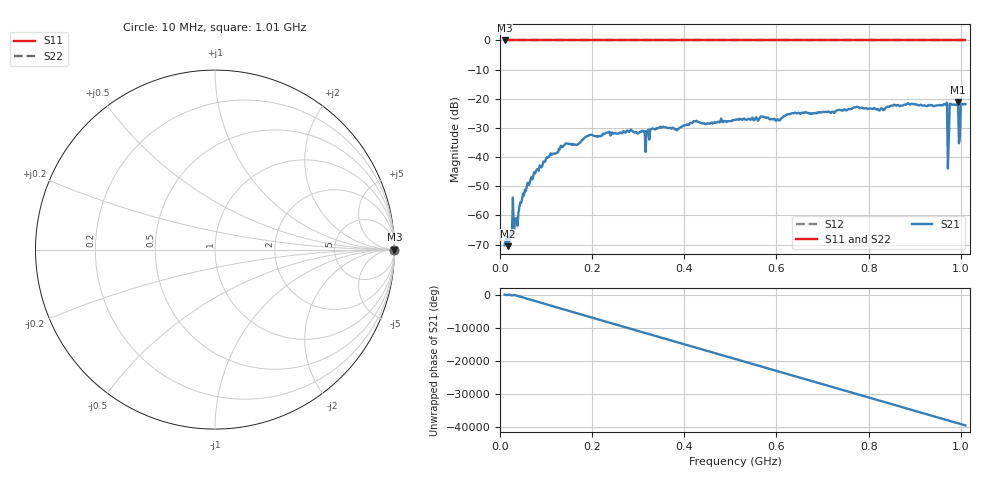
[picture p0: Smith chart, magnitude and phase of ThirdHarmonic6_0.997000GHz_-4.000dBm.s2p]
! 8/16/2025 7:59:02 AM
! C:\ANRITSUVNA\TEMP\TEMP.S2P
! CHANNEL.1
! TR.MEASUREMENT
! RAW.DATA
! RF.CORRECTION.OFF
! AVERAGING.OFF
! IF.BANDWIDTH: 5KHZ
! SWEEPTYPE:  FREQ.SWEEP(Linear)
! Reference Plane Port Info
! PORT:  PORT1  PORT2
! DISTANCE:  0  m  0  m
! TIME:  0  s  0  s
! PHASE.OFFSET:  0  deg.  0  deg.
! LOSS:  0  dB  0  dB
! REF.LOSS:  0  dB  0  dB
! REF.FREQ:  0  Hz  0  Hz
! Power Info
! POWER:  -20  dBm  -20  dBm
! EFF.POWER:  -20  dBm  -20  dBm
! SOURCE.ATTEN:  0  dB  0  dB
! TEST.ATTEN:  0  dB  0  dB
# GHZ S RI R 50.0
! FREQ.GHZ  S11RE  S11IM  S21RE  S21IM  S12RE  S12IM  S22RE  S22IM
!; PortSelection: Port_12
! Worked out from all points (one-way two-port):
!   501 points, 10 MHz to 1.01 GHz, reference 50 ohm
!   highest |S21| = -21.14 dB at 994 MHz (marker M1); lowest = -70.6 dB at 18 MHz (marker M2)
!   lowest |S11| = 0.0 dB at 10 MHz (marker M3)
!   |S11| at or under -10 dB: nowhere
!   |S22| runs from 0.0 to 0.0 dB; largest |S21 - S12| = 1.1
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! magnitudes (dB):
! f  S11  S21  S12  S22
! 10 MHz  0.0  -70.3  0.0  0.0
! 18 MHz  0.0  -70.6  0.0  0.0
! 32 MHz  0.0  -62.9  0.0  0.0
! 34 MHz  0.0  -61.0  0.0  0.0
! 54 MHz  0.0  -51.2  0.0  0.0
! 78 MHz  0.0  -44.8  0.0  0.0
! 136 MHz  0.0  -36.5  0.0  0.0
! 178 MHz  0.0  -34.2  0.0  0.0
! 280 MHz  0.0  -31.4  0.0  0.0
! 320 MHz  0.0  -31.2  0.0  0.0
! 344 MHz  0.0  -30.2  0.0  0.0
! 510 MHz  0.0  -27.2  0.0  0.0
! 678 MHz  0.0  -25.0  0.0  0.0
! 844 MHz  0.0  -22.8  0.0  0.0
! 966 MHz  0.0  -21.9  0.0  0.0
! 970 MHz  0.0  -21.3  0.0  0.0
! 976 MHz  0.0  -21.8  0.0  0.0
! 980 MHz  0.0  -22.0  0.0  0.0
! 990 MHz  0.0  -22.1  0.0  0.0
! 994 MHz  0.0  -21.1  0.0  0.0
! 1 GHz  0.0  -21.7  0.0  0.0
! 1.01 GHz  0.0  -21.8  0.0  0.0
